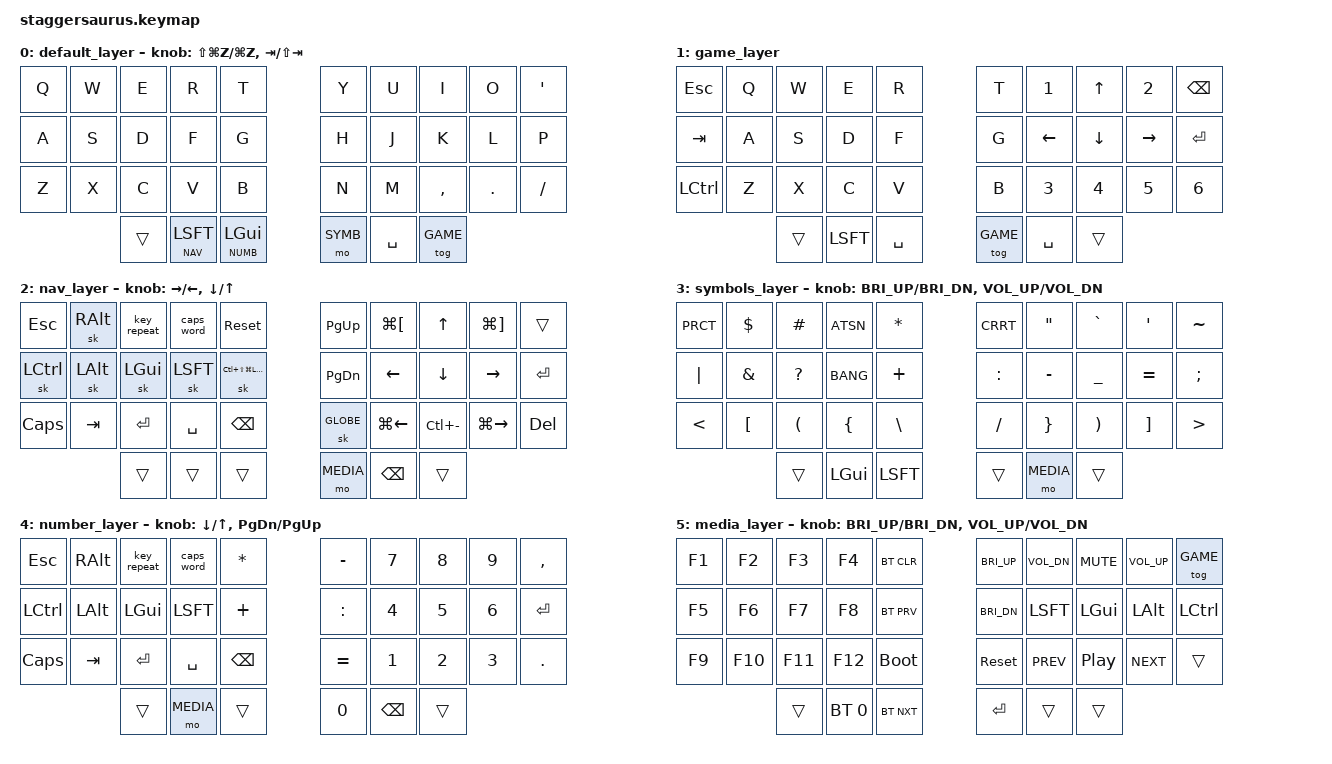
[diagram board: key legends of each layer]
/*
 * Copyright (c) 2020 The ZMK Contributors
 *
 * SPDX-License-Identifier: MIT
 */

#include <behaviors.dtsi>
#include <dt-bindings/zmk/keys.h>
#include <dt-bindings/zmk/bt.h>
#include <dt-bindings/zmk/mouse.h>

#define DEFAULT 0
#define GAME 1
#define NAV 2
#define SYMB 3
#define NUMB 4 
#define MEDIA 5

&sk {
  release-after-ms = <500>;
  quick-release;
};

&sl {
  release-after-ms = <500>;
};

/ {
  combos {
      compatible = "zmk,combos";
      combo_esc {
          timeout-ms = <50>;
          key-positions = <33 34>;
          bindings = <&kp ENTER>;
      };
      combo_tab {
          timeout-ms = <50>;
          key-positions = <31 32>;
          bindings = <&kp ESC>;
      };
  };
  behaviors {
    hlt: hold_layer_tap {
      compatible = "zmk,behavior-hold-tap";
      label = "HOLD_LAYER_TAP";
      #binding-cells = <2>;
      flavor = "balanced";
      tapping-term-ms = <150>;
      bindings = <&mo>, <&kp>;
    };
    ml: mod_layer {
      compatible = "zmk,behavior-hold-tap";
      label = "MOD_LAYER";
      #binding-cells = <2>;
      flavor = "hold-preferred";
      tapping-term-ms = <150>;
      bindings = <&mo>, <&sk>;
    };
  };

  keymap {
    compatible = "zmk,keymap";
    default_layer {
      bindings = <
        &kp Q        &kp W        &kp E        &kp R        &kp T           &kp Y  &kp U        &kp I        &kp O        &kp QUOT 
        &kp A        &kp S        &kp D        &kp F        &kp G           &kp H  &kp J        &kp K        &kp L        &kp P   
        &kp Z        &kp X        &kp C        &kp V        &kp B           &kp N  &kp M        &kp CMMA     &kp DOT      &kp FSLH
                          &trans  &ml NAV LSFT  &ml NUMB LGUI             &mo SYMB  &kp SPACE  &tog GAME
      >;
      sensor-bindings = <&inc_dec_kp LS(LG(Z)) LG(Z) &inc_dec_kp TAB LS(TAB)>;
    };

    game_layer {
      bindings = <
        &kp ESC  &kp Q  &kp W  &kp E  &kp R             &kp T  &kp N1  &kp UP  &kp N2  &kp BKSP 
        &kp TAB  &kp A  &kp S  &kp D  &kp F             &kp G  &kp LEFT  &kp DOWN  &kp RIGHT  &kp ENTER
        &kp LCTL  &kp Z  &kp X  &kp C  &kp V            &kp B  &kp N3  &kp N4  &kp N5  &kp N6
                    &trans  &kp LSFT  &kp SPACE           &tog GAME  &kp SPC &trans
        >;
    };

    nav_layer {
      bindings = <
        &kp ESC  &sk RALT  &key_repeat   &caps_word  &sys_reset            &kp PG_UP     &kp LG(LBKT)    &kp UP          &kp LG(RBKT)    &trans 
        &sk LCTL  &sk LALT  &sk LGUI      &sk LSFT    &sk LC(LS(LG(LALT)))  &kp PG_DN     &kp LEFT        &kp DOWN        &kp RIGHT       &kp ENTER
        &kp CAPS   &kp TAB   &kp ENTER     &kp SPC     &kp BKSP              &sk GLOBE     &kp LG(LEFT)    &kp LC(MINUS)   &kp LG(RIGHT)   &kp DEL 
                                  &trans  &trans  &trans                    &mo MEDIA  &kp BKSP  &trans
      >;
      sensor-bindings = <&inc_dec_kp RIGHT LEFT &inc_dec_kp DOWN UP>;
    };
      
    symbols_layer { // doubles / ? < > ' " (semi/colon to default?)
      bindings = <  
        &kp PRCT  &kp DLLR  &kp HASH    &kp ATSN  &kp STAR        &kp CRRT    &kp DQT   &kp GRAV    &kp QUOT   &kp TILDE
        &kp PIPE  &kp AMPS  &kp QMARK   &kp BANG  &kp PLUS        &kp COLON   &kp MINUS  &kp UNDER   &kp EQUAL   &kp SEMI
        &kp LT    &kp LBKT  &kp LPAR    &kp LBRC  &kp BSLH        &kp FSLH    &kp RBRC  &kp RPAR    &kp RBKT    &kp GT
                                &trans  &kp LGUI  &kp LSFT        &trans  &mo MEDIA  &trans
      >;
      sensor-bindings = <&inc_dec_kp C_BRI_UP C_BRI_DN &inc_dec_kp C_VOL_UP C_VOL_DN>;
    };	

    number_layer {
      bindings = <
        &kp ESC  &kp RALT  &key_repeat   &caps_word  &kp STAR       &kp MINUS  &kp N7  &kp N8  &kp N9  &kp CMMA
        &kp LCTL  &kp LALT  &kp LGUI      &kp LSFT    &kp PLUS       &kp COLON  &kp N4  &kp N5  &kp N6  &kp ENTER 
        &kp CAPS   &kp TAB   &kp ENTER     &kp SPC     &kp BKSP       &kp EQUAL  &kp N1  &kp N2  &kp N3  &kp DOT   
                                  &trans  &mo MEDIA  &trans          &kp N0  &kp BKSP  &trans
      >;
      sensor-bindings = <&inc_dec_kp DOWN UP &inc_dec_kp PG_DN PG_UP>;
    };

    media_layer {
      bindings = <
        &kp F1  &kp F2    &kp F3    &kp F4    &bt BT_CLR            &kp C_BRI_UP  &kp C_VOL_DN  &kp C_MUTE  &kp C_VOL_UP  &tog GAME
        &kp F5  &kp F6    &kp F7    &kp F8    &bt BT_PRV            &kp C_BRI_DN  &kp LSFT      &kp LGUI    &kp LALT      &kp LCTL 
        &kp F9  &kp F10   &kp F11   &kp F12   &bootloader           &sys_reset    &kp C_PREV    &kp C_PP    &kp C_NEXT    &trans   
                        &trans  &bt BT_SEL 0 &bt BT_NXT             &kp ENTER  &trans  &trans
      >;
      sensor-bindings = <&inc_dec_kp C_BRI_UP C_BRI_DN &inc_dec_kp C_VOL_UP C_VOL_DN>;
    };

  };
};
